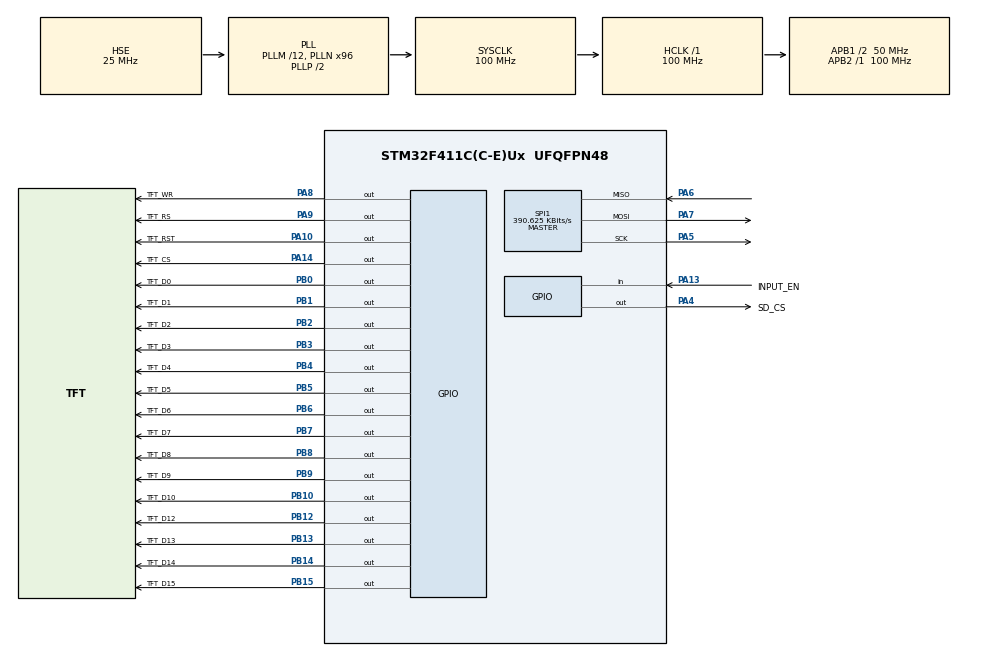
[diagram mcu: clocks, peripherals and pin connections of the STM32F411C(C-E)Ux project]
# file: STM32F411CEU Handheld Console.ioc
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ADC1.Channel-0\#ChannelRegularConversion=ADC_CHANNEL_VREFINT
ADC1.NbrOfConversionFlag=1
ADC1.Rank-0\#ChannelRegularConversion=1
ADC1.SamplingTime-0\#ChannelRegularConversion=ADC_SAMPLETIME_3CYCLES
ADC1.master=1
Mcu.Family=STM32F4
Mcu.Name=STM32F411C(C-E)Ux
Mcu.Package=UFQFPN48
NVIC.PriorityGroup=NVIC_PRIORITYGROUP_4
PA10.GPIO_Label=TFT_RST
PA10.GPIO_PuPd=GPIO_PULLDOWN
PA10.GPIO_Speed=GPIO_SPEED_FREQ_VERY_HIGH
PA10.Signal=GPIO_Output
PA13.GPIO_Label=INPUT_EN
PA13.Signal=GPIO_Input
PA14.GPIO_Label=TFT_CS
PA14.GPIO_PuPd=GPIO_PULLDOWN
PA14.GPIO_Speed=GPIO_SPEED_FREQ_VERY_HIGH
PA14.Signal=GPIO_Output
PA4.GPIO_Label=SD_CS
PA4.GPIO_Speed=GPIO_SPEED_FREQ_LOW
PA4.PinState=GPIO_PIN_RESET
PA4.Signal=GPIO_Output
PA5.GPIO_PuPd=GPIO_NOPULL
PA5.Mode=Full_Duplex_Master
PA5.Signal=SPI1_SCK
PA6.GPIO_PuPd=GPIO_NOPULL
PA6.Mode=Full_Duplex_Master
PA6.Signal=SPI1_MISO
PA7.GPIO_PuPd=GPIO_NOPULL
PA7.Mode=Full_Duplex_Master
PA7.Signal=SPI1_MOSI
PA8.GPIO_Label=TFT_WR
PA8.GPIO_PuPd=GPIO_PULLDOWN
PA8.GPIO_Speed=GPIO_SPEED_FREQ_VERY_HIGH
PA8.Signal=GPIO_Output
PA9.GPIO_Label=TFT_RS
PA9.GPIO_PuPd=GPIO_PULLDOWN
PA9.GPIO_Speed=GPIO_SPEED_FREQ_VERY_HIGH
PA9.Signal=GPIO_Output
PB0.GPIO_Label=TFT_D0
PB0.GPIO_PuPd=GPIO_PULLDOWN
PB0.GPIO_Speed=GPIO_SPEED_FREQ_VERY_HIGH
PB0.Signal=GPIO_Output
PB1.GPIO_Label=TFT_D1
PB1.GPIO_PuPd=GPIO_PULLDOWN
PB1.GPIO_Speed=GPIO_SPEED_FREQ_VERY_HIGH
PB1.Signal=GPIO_Output
PB10.GPIO_Label=TFT_D10
PB10.GPIO_PuPd=GPIO_PULLDOWN
PB10.GPIO_Speed=GPIO_SPEED_FREQ_VERY_HIGH
PB10.Signal=GPIO_Output
PB12.GPIO_Label=TFT_D12
PB12.GPIO_PuPd=GPIO_PULLDOWN
PB12.GPIO_Speed=GPIO_SPEED_FREQ_VERY_HIGH
PB12.Signal=GPIO_Output
PB13.GPIO_Label=TFT_D13
PB13.GPIO_PuPd=GPIO_PULLDOWN
PB13.GPIO_Speed=GPIO_SPEED_FREQ_VERY_HIGH
PB13.Signal=GPIO_Output
PB14.GPIO_Label=TFT_D14
PB14.GPIO_PuPd=GPIO_PULLDOWN
PB14.GPIO_Speed=GPIO_SPEED_FREQ_VERY_HIGH
PB14.Signal=GPIO_Output
PB15.GPIO_Label=TFT_D15
PB15.GPIO_PuPd=GPIO_PULLDOWN
PB15.GPIO_Speed=GPIO_SPEED_FREQ_VERY_HIGH
PB15.Signal=GPIO_Output
PB2.GPIO_Label=TFT_D2
PB2.GPIO_PuPd=GPIO_PULLDOWN
PB2.GPIO_Speed=GPIO_SPEED_FREQ_VERY_HIGH
PB2.Signal=GPIO_Output
PB3.GPIO_Label=TFT_D3
PB3.GPIO_PuPd=GPIO_PULLDOWN
PB3.GPIO_Speed=GPIO_SPEED_FREQ_VERY_HIGH
PB3.Signal=GPIO_Output
PB4.GPIO_Label=TFT_D4
PB4.GPIO_PuPd=GPIO_PULLDOWN
PB4.GPIO_Speed=GPIO_SPEED_FREQ_VERY_HIGH
PB4.Signal=GPIO_Output
PB5.GPIO_Label=TFT_D5
PB5.GPIO_PuPd=GPIO_PULLDOWN
PB5.GPIO_Speed=GPIO_SPEED_FREQ_VERY_HIGH
PB5.Signal=GPIO_Output
PB6.GPIO_Label=TFT_D6
PB6.GPIO_PuPd=GPIO_PULLDOWN
PB6.GPIO_Speed=GPIO_SPEED_FREQ_VERY_HIGH
PB6.Signal=GPIO_Output
PB7.GPIO_Label=TFT_D7
PB7.GPIO_PuPd=GPIO_PULLDOWN
PB7.GPIO_Speed=GPIO_SPEED_FREQ_VERY_HIGH
PB7.Signal=GPIO_Output
PB8.GPIO_Label=TFT_D8
PB8.GPIO_PuPd=GPIO_PULLDOWN
PB8.GPIO_Speed=GPIO_SPEED_FREQ_VERY_HIGH
PB8.Signal=GPIO_Output
PB9.GPIO_Label=TFT_D9
PB9.GPIO_PuPd=GPIO_PULLDOWN
PB9.GPIO_Speed=GPIO_SPEED_FREQ_VERY_HIGH
PB9.Signal=GPIO_Output
PH0\ -\ OSC_IN.Mode=HSE-External-Oscillator
PH0\ -\ OSC_IN.Signal=RCC_OSC_IN
PH1\ -\ OSC_OUT.Mode=HSE-External-Oscillator
PH1\ -\ OSC_OUT.Signal=RCC_OSC_OUT
ProjectManager.HeapSize=0x200
ProjectManager.StackSize=0x400
ProjectManager.TargetToolchain=STM32CubeIDE
RCC.48MHZClocksFreq_Value=50000000
RCC.AHBFreq_Value=100000000
RCC.APB1CLKDivider=RCC_HCLK_DIV2
RCC.APB1Freq_Value=50000000
RCC.APB1TimFreq_Value=100000000
RCC.APB2Freq_Value=100000000
RCC.APB2TimFreq_Value=100000000
RCC.CortexFreq_Value=100000000
RCC.HCLKFreq_Value=100000000
RCC.HSE_VALUE=25000000
RCC.HSI_VALUE=16000000
RCC.LSE_VALUE=32768
RCC.PLLM=12
RCC.PLLN=96
RCC.PLLSourceVirtual=RCC_PLLSOURCE_HSE
RCC.SYSCLKFreq_VALUE=100000000
RCC.SYSCLKSource=RCC_SYSCLKSOURCE_PLLCLK
RCC.VCOOutputFreq_Value=200000000
SPI1.BaudRatePrescaler=SPI_BAUDRATEPRESCALER_256
SPI1.CLKPolarity=SPI_POLARITY_LOW
SPI1.CRCCalculation=SPI_CRCCALCULATION_DISABLE
SPI1.CalculateBaudRate=390.625 KBits/s
SPI1.Direction=SPI_DIRECTION_2LINES
SPI1.FirstBit=SPI_FIRSTBIT_MSB
SPI1.Mode=SPI_MODE_MASTER
SPI1.VirtualType=VM_MASTER
VP_ADC1_Vref_Input.Mode=IN-Vrefint
VP_FATFS_VS_Generic.Mode=User_defined
board=custom

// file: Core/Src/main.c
/* USER CODE BEGIN Header */
/**
 ******************************************************************************
 * @file           : main.c
 * @brief          : Main program body
 ******************************************************************************
 * @attention
 *
 * Copyright (c) 2023 STMicroelectronics.
 * All rights reserved.
 *
 * This software is licensed under terms that can be found in the LICENSE file
 * in the root directory of this software component.
 * If no LICENSE file comes with this software, it is provided AS-IS.
 *
 ******************************************************************************
 */
/* USER CODE END Header */
#include "main.h"
#include "fatfs.h"

/* USER CODE BEGIN Includes */
#include "STM32_Handheld_Console.h"
/* USER CODE END Includes */

/* USER CODE BEGIN PTD */
typedef struct
{
	float x, y, z;
} Vec3;

typedef struct
{
	Vec3 points[3];
	uint8_t color;
} Triangle;

typedef struct
{
	Vec3 points[4];
	uint8_t color1;
	uint8_t color2;
} Quad;
/* USER CODE END PTD */

ADC_HandleTypeDef hadc1;

SPI_HandleTypeDef hspi1;

void SystemClock_Config(void);
static void MX_GPIO_Init(void);
static void MX_SPI1_Init(void);
static void MX_ADC1_Init(void);

int main(void)
{

  /* MCU Configuration--------------------------------------------------------*/

  /* Reset of all peripherals, Initializes the Flash interface and the Systick. */
  HAL_Init();

  /* Configure the system clock */
  SystemClock_Config();

  /* Initialize all configured peripherals */
  MX_GPIO_Init();
  MX_SPI1_Init();
  MX_FATFS_Init();
  MX_ADC1_Init();
  /* USER CODE BEGIN 2 */
  init_display();
  clear_screen();

	/*for(uint8_t y = 0; y < DISPLAY_HEIGHT; ++y)
	 {
	 for(uint8_t x = 0; x < DISPLAY_WIDTH; ++x)
	 {
	 draw_pixel(x, y, (y * DISPLAY_WIDTH + x) & 0xFF);
	 }
	 }*/
	//draw_rect(20, 10, 200, 90, rgb888_to_rgb332(255, 0, 0));
	draw_rect(20, 10, 200, 90, rgb888_to_rgb332(0, 200, 0));
	//fill_rect(40, 80, 100, 75, rgb888_to_rgb332(0, 200, 0));
	fill_rect(40, 80, 100, 75, rgb888_to_rgb332(255, 0, 0));
	set_text_area(157, 5, 227, 11);
	uint8_t assault_text_color = rgb888_to_rgb332(255, 255, 28);
	set_text_color(assault_text_color, assault_text_color);
	//set_text_color(rgb888_to_rgb332(200, 0, 0), rgb888_to_rgb332(200, 0, 0));
	//set_text_wrap(1);

	//const char *assault_text = "POLiS SALDIRISI  ///  @@@  ///  POLiS SALDIRISI";
	const char *assault_text = "POL" "\x82" "S SALDIRISI   ///   @@@   ///   POL" "\x82" "S SALDIRISI";
	//print_str("STM32F411CEU Handheld Gaming Console Print String And Text Area Test");

	update_display();

	int16_t x = 200;
	int16_t text_x, text_y;
	uint16_t text_w1, text_w2, text_w, text_h;

	text_bounds(assault_text, 0, 0, &text_x, &text_y, &text_w1, &text_h);
	text_bounds(assault_text + 36, 0, 0, &text_x, &text_y, &text_w2, &text_h);
	text_w = text_w1 - text_w2;

	uint32_t frames = 0, frames_to_draw_display = 0, ticks = 0;

	update_inputs();
	set_text_area(0, 0, 239, 159);

	/*HAL_Delay(1000);

	FATFS fat_fs = { 0 };
	FRESULT fres = f_mount(&fat_fs, "", 1);
	if(fres != FR_OK)
	{
		print_str("f_mount error no: ");
		print_int(fres);
		print_str("\n");
		update_display();
		while(1);
	}

	DWORD free_clusters, free_sectors, total_sectors;
	FATFS *get_free_fs;

	fres = f_getfree("", &free_clusters, &get_free_fs);
	if(fres != FR_OK)
	{
		print_str("f_getfree error no: ");
		print_int(fres);
		print_str("\n");
		update_display();
		while(1);
	}

	print_str("SD Card initialised\n");

	total_sectors = (get_free_fs->n_fatent - 2) * get_free_fs->csize;
	free_sectors = free_clusters * get_free_fs->csize;

	print_str("SD size: ");
	print_int(total_sectors / 2);
	print_str(" KiB\nFree space: ");
	print_int(free_sectors / 2);
	print_str(" KiB\n");
	update_display();

	f_mount(NULL, "", 0);

	while(1);*/

	Menu menu = { .x = 25, .y = 25, .w = 190, .rows = 5, .capacity = 10, .selection = 2, .item_shift = 0,
				  .bg_color = rgb888_to_rgb332(50, 50, 255),
				  .selected_text_color = 0xff,
				  .non_selected_text_color = rgb888_to_rgb332(150, 150, 150),
				  .selection_bg_color = rgb888_to_rgb332(200, 10, 10)};

	for(uint8_t i = 0; i < menu.capacity; ++i)
	{
		snprintf(&menu.items[i].text, sizeof(menu.items[menu.selection].text), "Men"TR_u" se"TR_c"ene"TR_g"i %d", (i + 1));
	}

  /* USER CODE END 2 */

  /* Infinite loop */
  /* USER CODE BEGIN WHILE */
	while (1)
	{
		ticks = HAL_GetTick();
		frames = HAL_GetTick();
		clear_screen();
		set_text_area(151, 0, 227, 20);
		set_cursor(x, 14);
		set_text_size(1, 1);
		print_str(assault_text);
		draw_v_line(151, 1, 3, assault_text_color);
		draw_v_line(151, 13, 3, assault_text_color);
		draw_v_line(227, 1, 3, assault_text_color);
		draw_v_line(227, 13, 3, assault_text_color);
		draw_h_line(151, 1, 3, assault_text_color);
		draw_h_line(151, 15, 3, assault_text_color);
		draw_h_line(225, 1, 3, assault_text_color);
		draw_h_line(225, 15, 3, assault_text_color);
		fill_rect(230, 1, 9, 9, assault_text_color);
		draw_pixel(234, 3, 0);
		draw_pixel(232, 6, 0);
		draw_pixel(236, 6, 0);
		draw_v_line(233, 4, 2, 0);
		draw_v_line(235, 4, 2, 0);
		draw_h_line(231, 7, 7, 0);

		if (x < 151 - text_w)
			x = 151;
		x -= 1;

		set_text_area(0, 0, 239, 159);
		set_cursor(0, 21);
		printf_str("DT: %d ms\n", frames_to_draw_display);

		//show_error_window("HATA TEST" "\x82", "Bunu g" "\x87" "r" "\x8a" "yorsan hata penceresi " "\x86" "al" "\x88" "\x89" "\x88" "yor demektir.\n\n\nHata kodu: ERR_DEBUG");
		//test_assertion(0 && "This assertion will always fail.");
		menu_render(&menu);

		update_inputs();
		if(get_key_down(GAMEPAD_X)) menu_go_down(&menu);
		if(get_key_down(GAMEPAD_Y)) menu_go_up(&menu);

		set_text_area(0, 0, 239, 159);
		set_cursor(0, 10);
		set_text_color(assault_text_color, assault_text_color);
		print_str("RT: ");
		frames = HAL_GetTick() - frames;
		print_int(frames);
		print_str(" ms");

		frames_to_draw_display = HAL_GetTick();

		update_display();

		frames_to_draw_display = HAL_GetTick() - frames_to_draw_display;

		//while(HAL_GetTick() <= ticks + 33);
    /* USER CODE END WHILE */

	}
}

void SystemClock_Config(void)
{
  RCC_OscInitTypeDef RCC_OscInitStruct = {0};
  RCC_ClkInitTypeDef RCC_ClkInitStruct = {0};

  /** Configure the main internal regulator output voltage
  */
  __HAL_RCC_PWR_CLK_ENABLE();
  __HAL_PWR_VOLTAGESCALING_CONFIG(PWR_REGULATOR_VOLTAGE_SCALE1);

  /** Initializes the RCC Oscillators according to the specified parameters
  * in the RCC_OscInitTypeDef structure.
  */
  RCC_OscInitStruct.OscillatorType = RCC_OSCILLATORTYPE_HSE;
  RCC_OscInitStruct.HSEState = RCC_HSE_ON;
  RCC_OscInitStruct.PLL.PLLState = RCC_PLL_ON;
  RCC_OscInitStruct.PLL.PLLSource = RCC_PLLSOURCE_HSE;
  RCC_OscInitStruct.PLL.PLLM = 12;
  RCC_OscInitStruct.PLL.PLLN = 96;
  RCC_OscInitStruct.PLL.PLLP = RCC_PLLP_DIV2;
  RCC_OscInitStruct.PLL.PLLQ = 4;
  if (HAL_RCC_OscConfig(&RCC_OscInitStruct) != HAL_OK)
  {
    Error_Handler();
  }

  /** Initializes the CPU, AHB and APB buses clocks
  */
  RCC_ClkInitStruct.ClockType = RCC_CLOCKTYPE_HCLK|RCC_CLOCKTYPE_SYSCLK
                              |RCC_CLOCKTYPE_PCLK1|RCC_CLOCKTYPE_PCLK2;
  RCC_ClkInitStruct.SYSCLKSource = RCC_SYSCLKSOURCE_PLLCLK;
  RCC_ClkInitStruct.AHBCLKDivider = RCC_SYSCLK_DIV1;
  RCC_ClkInitStruct.APB1CLKDivider = RCC_HCLK_DIV2;
  RCC_ClkInitStruct.APB2CLKDivider = RCC_HCLK_DIV1;

  if (HAL_RCC_ClockConfig(&RCC_ClkInitStruct, FLASH_LATENCY_3) != HAL_OK)
  {
    Error_Handler();
  }
}

static void MX_ADC1_Init(void)
{

  ADC_ChannelConfTypeDef sConfig = {0};

  /** Configure the global features of the ADC (Clock, Resolution, Data Alignment and number of conversion)
  */
  hadc1.Instance = ADC1;
  hadc1.Init.ClockPrescaler = ADC_CLOCK_SYNC_PCLK_DIV4;
  hadc1.Init.Resolution = ADC_RESOLUTION_12B;
  hadc1.Init.ScanConvMode = DISABLE;
  hadc1.Init.ContinuousConvMode = DISABLE;
  hadc1.Init.DiscontinuousConvMode = DISABLE;
  hadc1.Init.ExternalTrigConvEdge = ADC_EXTERNALTRIGCONVEDGE_NONE;
  hadc1.Init.ExternalTrigConv = ADC_SOFTWARE_START;
  hadc1.Init.DataAlign = ADC_DATAALIGN_RIGHT;
  hadc1.Init.NbrOfConversion = 1;
  hadc1.Init.DMAContinuousRequests = DISABLE;
  hadc1.Init.EOCSelection = ADC_EOC_SINGLE_CONV;
  if (HAL_ADC_Init(&hadc1) != HAL_OK)
  {
    Error_Handler();
  }

  /** Configure for the selected ADC regular channel its corresponding rank in the sequencer and its sample time.
  */
  sConfig.Channel = ADC_CHANNEL_VREFINT;
  sConfig.Rank = 1;
  sConfig.SamplingTime = ADC_SAMPLETIME_3CYCLES;
  if (HAL_ADC_ConfigChannel(&hadc1, &sConfig) != HAL_OK)
  {
    Error_Handler();
  }

}

static void MX_SPI1_Init(void)
{

  /* SPI1 parameter configuration*/
  hspi1.Instance = SPI1;
  hspi1.Init.Mode = SPI_MODE_MASTER;
  hspi1.Init.Direction = SPI_DIRECTION_2LINES;
  hspi1.Init.DataSize = SPI_DATASIZE_8BIT;
  hspi1.Init.CLKPolarity = SPI_POLARITY_LOW;
  hspi1.Init.CLKPhase = SPI_PHASE_1EDGE;
  hspi1.Init.NSS = SPI_NSS_SOFT;
  hspi1.Init.BaudRatePrescaler = SPI_BAUDRATEPRESCALER_256;
  hspi1.Init.FirstBit = SPI_FIRSTBIT_MSB;
  hspi1.Init.TIMode = SPI_TIMODE_DISABLE;
  hspi1.Init.CRCCalculation = SPI_CRCCALCULATION_DISABLE;
  hspi1.Init.CRCPolynomial = 10;
  if (HAL_SPI_Init(&hspi1) != HAL_OK)
  {
    Error_Handler();
  }

}

static void MX_GPIO_Init(void)
{
  GPIO_InitTypeDef GPIO_InitStruct = {0};

  /* GPIO Ports Clock Enable */
  __HAL_RCC_GPIOH_CLK_ENABLE();
  __HAL_RCC_GPIOA_CLK_ENABLE();
  __HAL_RCC_GPIOB_CLK_ENABLE();

  /*Configure GPIO pin Output Level */
  HAL_GPIO_WritePin(GPIOA, SD_CS_Pin|TFT_WR_Pin|TFT_RS_Pin|TFT_RST_Pin
                          |TFT_CS_Pin, GPIO_PIN_RESET);

  /*Configure GPIO pin Output Level */
  HAL_GPIO_WritePin(GPIOB, TFT_D0_Pin|TFT_D1_Pin|TFT_D2_Pin|TFT_D10_Pin
                          |TFT_D12_Pin|TFT_D13_Pin|TFT_D14_Pin|TFT_D15_Pin
                          |TFT_D3_Pin|TFT_D4_Pin|TFT_D5_Pin|TFT_D6_Pin
                          |TFT_D7_Pin|TFT_D8_Pin|TFT_D9_Pin, GPIO_PIN_RESET);

  /*Configure GPIO pin : SD_CS_Pin */
  GPIO_InitStruct.Pin = SD_CS_Pin;
  GPIO_InitStruct.Mode = GPIO_MODE_OUTPUT_PP;
  GPIO_InitStruct.Pull = GPIO_NOPULL;
  GPIO_InitStruct.Speed = GPIO_SPEED_FREQ_LOW;
  HAL_GPIO_Init(SD_CS_GPIO_Port, &GPIO_InitStruct);

  /*Configure GPIO pins : TFT_D0_Pin TFT_D1_Pin TFT_D2_Pin TFT_D10_Pin
                           TFT_D12_Pin TFT_D13_Pin TFT_D14_Pin TFT_D15_Pin
                           TFT_D3_Pin TFT_D4_Pin TFT_D5_Pin TFT_D6_Pin
                           TFT_D7_Pin TFT_D8_Pin TFT_D9_Pin */
  GPIO_InitStruct.Pin = TFT_D0_Pin|TFT_D1_Pin|TFT_D2_Pin|TFT_D10_Pin
                          |TFT_D12_Pin|TFT_D13_Pin|TFT_D14_Pin|TFT_D15_Pin
                          |TFT_D3_Pin|TFT_D4_Pin|TFT_D5_Pin|TFT_D6_Pin
                          |TFT_D7_Pin|TFT_D8_Pin|TFT_D9_Pin;
  GPIO_InitStruct.Mode = GPIO_MODE_OUTPUT_PP;
  GPIO_InitStruct.Pull = GPIO_PULLDOWN;
  GPIO_InitStruct.Speed = GPIO_SPEED_FREQ_VERY_HIGH;
  HAL_GPIO_Init(GPIOB, &GPIO_InitStruct);

  /*Configure GPIO pins : TFT_WR_Pin TFT_RS_Pin TFT_RST_Pin TFT_CS_Pin */
  GPIO_InitStruct.Pin = TFT_WR_Pin|TFT_RS_Pin|TFT_RST_Pin|TFT_CS_Pin;
  GPIO_InitStruct.Mode = GPIO_MODE_OUTPUT_PP;
  GPIO_InitStruct.Pull = GPIO_PULLDOWN;
  GPIO_InitStruct.Speed = GPIO_SPEED_FREQ_VERY_HIGH;
  HAL_GPIO_Init(GPIOA, &GPIO_InitStruct);

  /*Configure GPIO pin : INPUT_EN_Pin */
  GPIO_InitStruct.Pin = INPUT_EN_Pin;
  GPIO_InitStruct.Mode = GPIO_MODE_INPUT;
  GPIO_InitStruct.Pull = GPIO_NOPULL;
  HAL_GPIO_Init(INPUT_EN_GPIO_Port, &GPIO_InitStruct);

}

void Error_Handler(void)
{
	__disable_irq();
	while (1) {
	}
}
